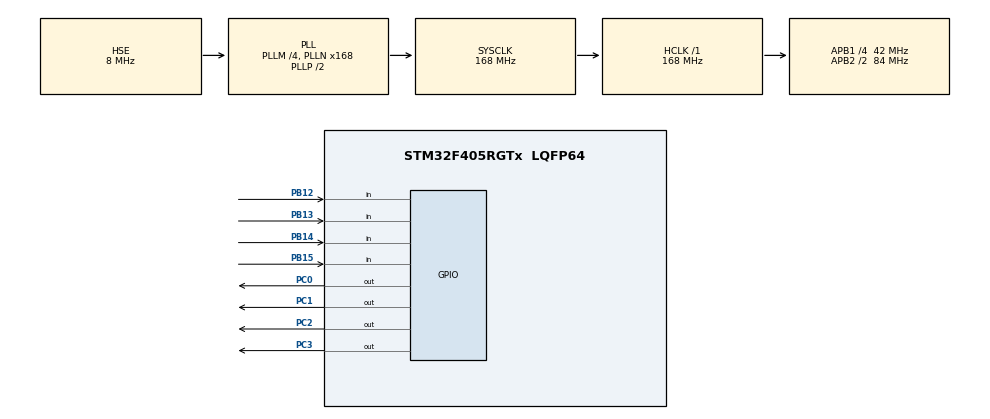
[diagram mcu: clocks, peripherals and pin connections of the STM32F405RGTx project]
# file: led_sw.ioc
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Mcu.Family=STM32F4
Mcu.Name=STM32F405RGTx
Mcu.Package=LQFP64
NVIC.PriorityGroup=NVIC_PRIORITYGROUP_4
PA13.Mode=Serial_Wire
PA13.Signal=SYS_JTMS-SWDIO
PA14.Mode=Serial_Wire
PA14.Signal=SYS_JTCK-SWCLK
PB12.Signal=GPIO_Input
PB13.Signal=GPIO_Input
PB14.Signal=GPIO_Input
PB15.Signal=GPIO_Input
PC0.Signal=GPIO_Output
PC1.Signal=GPIO_Output
PC2.Signal=GPIO_Output
PC3.Signal=GPIO_Output
PH0-OSC_IN.Mode=HSE-External-Oscillator
PH0-OSC_IN.Signal=RCC_OSC_IN
PH1-OSC_OUT.Mode=HSE-External-Oscillator
PH1-OSC_OUT.Signal=RCC_OSC_OUT
ProjectManager.HeapSize=0x200
ProjectManager.StackSize=0x400
ProjectManager.TargetToolchain=EWARM V8.32
RCC.48MHZClocksFreq_Value=84000000
RCC.AHBFreq_Value=168000000
RCC.APB1CLKDivider=RCC_HCLK_DIV4
RCC.APB1Freq_Value=42000000
RCC.APB1TimFreq_Value=84000000
RCC.APB2CLKDivider=RCC_HCLK_DIV2
RCC.APB2Freq_Value=84000000
RCC.APB2TimFreq_Value=168000000
RCC.CortexFreq_Value=168000000
RCC.HCLKFreq_Value=168000000
RCC.HSE_VALUE=8000000
RCC.HSI_VALUE=16000000
RCC.LSE_VALUE=32768
RCC.PLLM=4
RCC.PLLN=168
RCC.PLLSourceVirtual=RCC_PLLSOURCE_HSE
RCC.SYSCLKFreq_VALUE=168000000
RCC.SYSCLKSource=RCC_SYSCLKSOURCE_PLLCLK
RCC.VCOOutputFreq_Value=336000000
board=custom

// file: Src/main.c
/* USER CODE BEGIN Header */
/**
  ******************************************************************************
  * @file           : main.c
  * @brief          : Main program body
  ******************************************************************************
  * @attention
  *
  * <h2><center>&copy; Copyright (c) 2020 STMicroelectronics.
  * All rights reserved.</center></h2>
  *
  * This software component is licensed by ST under BSD 3-Clause license,
  * the "License"; You may not use this file except in compliance with the
  * License. You may obtain a copy of the License at:
  *                        opensource.org/licenses/BSD-3-Clause
  *
  ******************************************************************************
  */
/* USER CODE END Header */

#include "main.h"
#include "gpio.h"

void SystemClock_Config(void);

int main(void)
{

  /* MCU Configuration--------------------------------------------------------*/

  /* Reset of all peripherals, Initializes the Flash interface and the Systick. */
  HAL_Init();

  /* Configure the system clock */
  SystemClock_Config();

  /* Initialize all configured peripherals */
  MX_GPIO_Init();

  /* Infinite loop */
  /* USER CODE BEGIN WHILE */

  while (1)
  {

    /* PG13, PG14�� ����մϴ�.
    HAL_GPIO_TogglePin(GPIOG, GPIO_PIN_13 | GPIO_PIN_14);

     500mS Delay
    HAL_Delay(500);*/
    // HAL_GPIO_WritePin(GPIOC, GPIO_PIN_0, HAL_GPIO_ReadPin(GPIOB, GPIO_PIN12));
    if(HAL_GPIO_ReadPin(GPIOB, GPIO_PIN_12)==1)
    {
      HAL_GPIO_WritePin(GPIOC, GPIO_PIN_0, GPIO_PIN_SET);
      HAL_GPIO_WritePin(GPIOC, GPIO_PIN_1, GPIO_PIN_RESET);
      HAL_GPIO_WritePin(GPIOC, GPIO_PIN_2, GPIO_PIN_RESET);
      HAL_GPIO_WritePin(GPIOC, GPIO_PIN_3, GPIO_PIN_RESET);
    }
    else if(HAL_GPIO_ReadPin(GPIOB, GPIO_PIN_13)==1)
    {
      HAL_GPIO_WritePin(GPIOC, GPIO_PIN_1, GPIO_PIN_SET);
      HAL_GPIO_WritePin(GPIOC, GPIO_PIN_0, GPIO_PIN_RESET);
      HAL_GPIO_WritePin(GPIOC, GPIO_PIN_2, GPIO_PIN_RESET);
      HAL_GPIO_WritePin(GPIOC, GPIO_PIN_3, GPIO_PIN_RESET);
    }
    else if(HAL_GPIO_ReadPin(GPIOB, GPIO_PIN_14)==1)
    {
      HAL_GPIO_WritePin(GPIOC, GPIO_PIN_2, GPIO_PIN_SET);
      HAL_GPIO_WritePin(GPIOC, GPIO_PIN_0, GPIO_PIN_RESET);
      HAL_GPIO_WritePin(GPIOC, GPIO_PIN_1, GPIO_PIN_RESET);
      HAL_GPIO_WritePin(GPIOC, GPIO_PIN_3, GPIO_PIN_RESET);
    }
    else if(HAL_GPIO_ReadPin(GPIOB, GPIO_PIN_15)==1)
    {
      HAL_GPIO_WritePin(GPIOC, GPIO_PIN_3, GPIO_PIN_SET);
      HAL_GPIO_WritePin(GPIOC, GPIO_PIN_0, GPIO_PIN_RESET);
      HAL_GPIO_WritePin(GPIOC, GPIO_PIN_1, GPIO_PIN_RESET);
      HAL_GPIO_WritePin(GPIOC, GPIO_PIN_2, GPIO_PIN_RESET);
    }
    /* USER CODE END WHILE */

  }
}

void SystemClock_Config(void)
{
  RCC_OscInitTypeDef RCC_OscInitStruct = {0};
  RCC_ClkInitTypeDef RCC_ClkInitStruct = {0};

  /** Configure the main internal regulator output voltage
  */
  __HAL_RCC_PWR_CLK_ENABLE();
  __HAL_PWR_VOLTAGESCALING_CONFIG(PWR_REGULATOR_VOLTAGE_SCALE1);
  /** Initializes the CPU, AHB and APB busses clocks
  */
  RCC_OscInitStruct.OscillatorType = RCC_OSCILLATORTYPE_HSE;
  RCC_OscInitStruct.HSEState = RCC_HSE_ON;
  RCC_OscInitStruct.PLL.PLLState = RCC_PLL_ON;
  RCC_OscInitStruct.PLL.PLLSource = RCC_PLLSOURCE_HSE;
  RCC_OscInitStruct.PLL.PLLM = 4;
  RCC_OscInitStruct.PLL.PLLN = 168;
  RCC_OscInitStruct.PLL.PLLP = RCC_PLLP_DIV2;
  RCC_OscInitStruct.PLL.PLLQ = 4;
  if (HAL_RCC_OscConfig(&RCC_OscInitStruct) != HAL_OK)
  {
    Error_Handler();
  }
  /** Initializes the CPU, AHB and APB busses clocks
  */
  RCC_ClkInitStruct.ClockType = RCC_CLOCKTYPE_HCLK|RCC_CLOCKTYPE_SYSCLK
                              |RCC_CLOCKTYPE_PCLK1|RCC_CLOCKTYPE_PCLK2;
  RCC_ClkInitStruct.SYSCLKSource = RCC_SYSCLKSOURCE_PLLCLK;
  RCC_ClkInitStruct.AHBCLKDivider = RCC_SYSCLK_DIV1;
  RCC_ClkInitStruct.APB1CLKDivider = RCC_HCLK_DIV4;
  RCC_ClkInitStruct.APB2CLKDivider = RCC_HCLK_DIV2;

  if (HAL_RCC_ClockConfig(&RCC_ClkInitStruct, FLASH_LATENCY_5) != HAL_OK)
  {
    Error_Handler();
  }
}

void Error_Handler(void)
{
}

/************************ (C) COPYRIGHT STMicroelectronics *****END OF FILE****/
